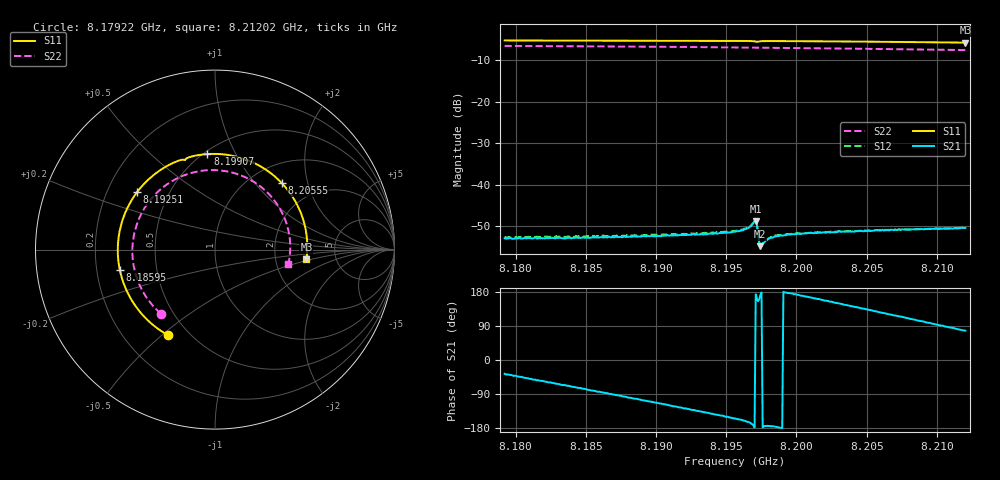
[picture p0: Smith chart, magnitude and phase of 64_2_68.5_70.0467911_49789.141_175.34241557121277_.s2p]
#  HZ  S  RI  R  50.00
! Rohde & Schwarz Vector Network Analyzer
! Rohde-Schwarz,ZNB20-2Port,1311601062101988,3.16
! Created: UTC 3/20/2024, 5:06:37 PM
! freq[Hz]  re:S11  im:S11  re:S21  im:S21  re:S12  im:S12  re:S22  im:S22
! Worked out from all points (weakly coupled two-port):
!   401 points, 8.17922 GHz to 8.21202 GHz, reference 50 ohm
!   highest |S21| = -48.80 dB at 8.1971 GHz (marker M1); lowest = -54.8 dB at 8.19743 GHz (marker M2)
!   lowest |S11| = -5.8 dB at 8.21202 GHz (marker M3), VSWR 3.10, Z = 151 - j22.2 ohm
!   |S11| at or under -10 dB: nowhere
!   |S22| runs from -7.6 to -6.6 dB; largest |S21 - S12| = 0.00019
!   S11 on the Smith chart (normalised r, x): 8.17922 GHz: 0.39, -0.53; 8.18595 GHz: 0.30, -0.10; 8.19251 GHz: 0.33, +0.30; 8.19907 GHz: 0.52, +0.78; 8.20555 GHz: 1.36, +1.39; 8.21202 GHz: 3.03, -0.44
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8.179221e9  -0.2594 -0.478  0.00182 -0.00134  0.00183 -0.00141  -0.3023 -0.3568
8.182173e9  -0.4164 -0.349  0.00122 -0.00191  0.00121 -0.00202  -0.405 -0.2281
8.184715e9  -0.5056 -0.1973  0.000585 -0.00222  0.000569 -0.00233  -0.4523 -0.0951
8.185945e9  -0.5299 -0.1151  0.000265 -0.00229  0.000211 -0.00235  -0.46 -0.0271
8.188078e9  -0.5405 0.0328  -0.000381 -0.00233  -0.000453 -0.00239  -0.4497 0.0906
8.19021e9  -0.5103 0.1786  -0.000985 -0.00219  -0.00108 -0.00222  -0.4092 0.2017
8.192506e9  -0.4344 0.32  -0.00163 -0.00188  -0.00177 -0.00189  -0.3351 0.3055
8.195623e9  -0.2705 0.4641  -0.00243 -0.00117  -0.00255 -0.00109  -0.1934 0.4053
8.196361e9  -0.2233 0.4875  -0.00276 -0.000948  -0.00281 -0.000858  -0.1546 0.4202
8.196935e9  -0.1822 0.5007  -0.00342 -0.000445  -0.00345 -0.00032  -0.1237 0.4294
8.197099e9  -0.1701 0.4997  -0.0036 0.000428  -0.00364 0.000609  -0.1146 0.4314
8.197427e9  -0.1591 0.5077  -0.00179 0.00028  -0.00184 0.00036  -0.0967 0.4352
8.197591e9  -0.1475 0.5132  -0.00195 -7.78e-05  -0.00195 2.4e-05  -0.0877 0.437
8.198001e9  -0.1179 0.5217  -0.00221 -0.000227  -0.00223 -0.000166  -0.0646 0.4403
8.198329e9  -0.0947 0.5263  -0.0023 -0.00021  -0.00237 -9.63e-05  -0.0461 0.4421
8.199067e9  -0.0422 0.5323  -0.00244 8.13e-06  -0.00247 0.000144  -0.00409 0.4431
8.201117e9  0.1019 0.5218  -0.00251 0.000724  -0.0025 0.000839  0.1109 0.425
8.203332e9  0.2481 0.467  -0.00228 0.0015  -0.00222 0.00161  0.226 0.3716
8.205546e9  0.3717 0.3711  -0.00175 0.00217  -0.00171 0.00223  0.3216 0.2856
8.206612e9  0.4198 0.3127  -0.00143 0.00243  -0.0014 0.00246  0.3577 0.2343
8.209318e9  0.4994 0.1381  -0.000442 0.00288  -0.000391 0.0029  0.4134 0.0837
8.212025e9  0.5094 -0.054  0.000655 0.00292  0.000722 0.00294  0.4088 -0.0803
